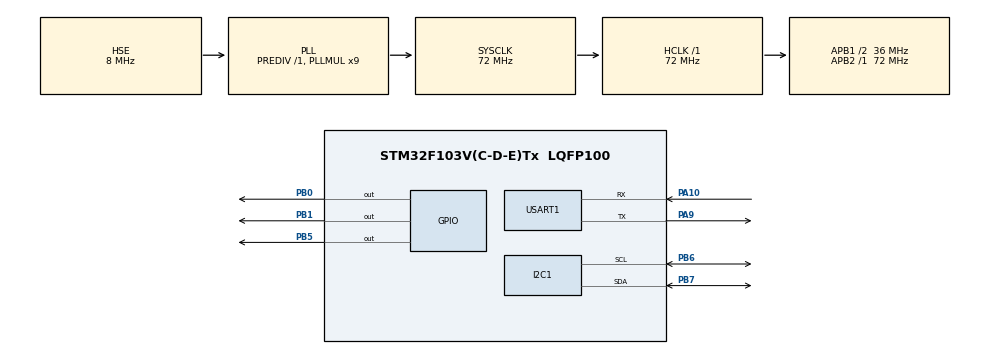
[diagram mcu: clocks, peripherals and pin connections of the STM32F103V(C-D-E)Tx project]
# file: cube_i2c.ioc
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Dma.I2C1_RX.0.Direction=DMA_PERIPH_TO_MEMORY
Dma.I2C1_RX.0.Instance=DMA1_Channel7
Dma.I2C1_RX.0.MemDataAlignment=DMA_MDATAALIGN_BYTE
Dma.I2C1_RX.0.MemInc=DMA_MINC_ENABLE
Dma.I2C1_RX.0.Mode=DMA_CIRCULAR
Dma.I2C1_RX.0.PeriphDataAlignment=DMA_PDATAALIGN_BYTE
Dma.I2C1_RX.0.PeriphInc=DMA_PINC_DISABLE
Dma.I2C1_RX.0.Priority=DMA_PRIORITY_HIGH
Dma.Request0=I2C1_RX
FREERTOS.Tasks01=defaultTask,24,128,StartDefaultTask,Default,NULL,Dynamic,NULL,NULL
I2C1.I2C_Mode=I2C_Fast
Mcu.Family=STM32F1
Mcu.Name=STM32F103V(C-D-E)Tx
Mcu.Package=LQFP100
Mcu.UserConstants=i2c_val,0;uart_cal,0
NVIC.DMA1_Channel7_IRQn=true\:5\:0\:false\:false\:true\:true\:false\:true\:true
NVIC.PriorityGroup=NVIC_PRIORITYGROUP_4
NVIC.USART1_IRQn=true\:5\:0\:false\:false\:true\:true\:true\:true\:true
OSC_IN.Mode=HSE-External-Oscillator
OSC_IN.Signal=RCC_OSC_IN
OSC_OUT.Mode=HSE-External-Oscillator
OSC_OUT.Signal=RCC_OSC_OUT
PA10.Mode=Asynchronous
PA10.Signal=USART1_RX
PA9.Mode=Asynchronous
PA9.Signal=USART1_TX
PB0.GPIO_Speed=GPIO_SPEED_FREQ_HIGH
PB0.PinState=GPIO_PIN_SET
PB0.Signal=GPIO_Output
PB1.GPIO_Speed=GPIO_SPEED_FREQ_HIGH
PB1.PinState=GPIO_PIN_SET
PB1.Signal=GPIO_Output
PB5.GPIO_Speed=GPIO_SPEED_FREQ_HIGH
PB5.PinState=GPIO_PIN_SET
PB5.Signal=GPIO_Output
PB6.Mode=I2C
PB6.Signal=I2C1_SCL
PB7.Mode=I2C
PB7.Signal=I2C1_SDA
ProjectManager.HeapSize=0x200
ProjectManager.StackSize=0x400
ProjectManager.TargetToolchain=MDK-ARM V5.32
RCC.AHBFreq_Value=72000000
RCC.APB1CLKDivider=RCC_HCLK_DIV2
RCC.APB1Freq_Value=36000000
RCC.APB1TimFreq_Value=72000000
RCC.APB2Freq_Value=72000000
RCC.APB2TimFreq_Value=72000000
RCC.HCLKFreq_Value=72000000
RCC.PLLMUL=RCC_PLL_MUL9
RCC.PLLSourceVirtual=RCC_PLLSOURCE_HSE
RCC.SYSCLKFreq_VALUE=72000000
RCC.SYSCLKSource=RCC_SYSCLKSOURCE_PLLCLK
RCC.USBFreq_Value=72000000
USART1.VirtualMode=VM_ASYNC
VP_FREERTOS_VS_CMSIS_V2.Mode=CMSIS_V2
VP_SYS_VS_ND.Mode=No_Debug
board=custom

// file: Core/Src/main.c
/* USER CODE BEGIN Header */
/**
 ******************************************************************************
 * @file           : main.c
 * @brief          : Main program body
 ******************************************************************************
 * @attention
 *
 * Copyright (c) 2023 STMicroelectronics.
 * All rights reserved.
 *
 * This software is licensed under terms that can be found in the LICENSE file
 * in the root directory of this software component.
 * If no LICENSE file comes with this software, it is provided AS-IS.
 *
 ******************************************************************************
 */
/* USER CODE END Header */
#include "main.h"
#include "cmsis_os.h"
#include "dma.h"
#include "i2c.h"
#include "usart.h"
#include "gpio.h"
#include <stm32f103xe.h>
#include <stm32f1xx_hal_uart.h>

void SystemClock_Config(void);
void MX_FREERTOS_Init(void);

int main(void)
{

  /* MCU Configuration--------------------------------------------------------*/

  /* Reset of all peripherals, Initializes the Flash interface and the Systick. */
  HAL_Init();

  /* Configure the system clock */
  SystemClock_Config();

  /* Initialize all configured peripherals */
  MX_GPIO_Init();
  MX_DMA_Init();
  MX_I2C1_Init();
  MX_USART1_UART_Init();
  /* USER CODE BEGIN 2 */
  uint8_t I2c_Buf_Read[256];
  // uint16_t i;
  // uint8_t I2c_Buf_Write[256];
  // for (i = 0; i <= 255; i++)
  // {
  //   I2c_Buf_Write[i] = i;
  // }
  uint8_t addr = 0x00;
  uint8_t data = 0x90;
  I2C_EE_ByteWrite(&data, addr);
  I2C_EE_BufferRead(I2c_Buf_Read, addr, 256);
  if (I2c_Buf_Read[0] == data)
  {
    // HAL_UART_Transmit(&huart1, (uint8_t *)"success\r\n", 9, 1000);
    HAL_UART_Transmit(&huart1, (uint8_t *)"success\r\n", sizeof("success") + 1, 1000);
  }
  extern UART_HandleTypeDef huart1;
  HAL_GPIO_WritePin(GPIOB, GPIO_PIN_5, GPIO_PIN_SET);
  /* USER CODE END 2 */

  /* Init scheduler */
  osKernelInitialize();  /* Call init function for freertos objects (in freertos.c) */
  MX_FREERTOS_Init();

  /* Start scheduler */
  osKernelStart();

  /* We should never get here as control is now taken by the scheduler */
  /* Infinite loop */
  /* USER CODE BEGIN WHILE */
  while (1)
  {
    HAL_UART_Transmit(&huart1, (uint8_t *)"hello\r\n", 8, 1000);
    HAL_Delay(1000);
    /* USER CODE END WHILE */

  }
}

void SystemClock_Config(void)
{
  RCC_OscInitTypeDef RCC_OscInitStruct = {0};
  RCC_ClkInitTypeDef RCC_ClkInitStruct = {0};

  /** Initializes the RCC Oscillators according to the specified parameters
  * in the RCC_OscInitTypeDef structure.
  */
  RCC_OscInitStruct.OscillatorType = RCC_OSCILLATORTYPE_HSE;
  RCC_OscInitStruct.HSEState = RCC_HSE_ON;
  RCC_OscInitStruct.HSEPredivValue = RCC_HSE_PREDIV_DIV1;
  RCC_OscInitStruct.HSIState = RCC_HSI_ON;
  RCC_OscInitStruct.PLL.PLLState = RCC_PLL_ON;
  RCC_OscInitStruct.PLL.PLLSource = RCC_PLLSOURCE_HSE;
  RCC_OscInitStruct.PLL.PLLMUL = RCC_PLL_MUL9;
  if (HAL_RCC_OscConfig(&RCC_OscInitStruct) != HAL_OK)
  {
    Error_Handler();
  }

  /** Initializes the CPU, AHB and APB buses clocks
  */
  RCC_ClkInitStruct.ClockType = RCC_CLOCKTYPE_HCLK|RCC_CLOCKTYPE_SYSCLK
                              |RCC_CLOCKTYPE_PCLK1|RCC_CLOCKTYPE_PCLK2;
  RCC_ClkInitStruct.SYSCLKSource = RCC_SYSCLKSOURCE_PLLCLK;
  RCC_ClkInitStruct.AHBCLKDivider = RCC_SYSCLK_DIV1;
  RCC_ClkInitStruct.APB1CLKDivider = RCC_HCLK_DIV2;
  RCC_ClkInitStruct.APB2CLKDivider = RCC_HCLK_DIV1;

  if (HAL_RCC_ClockConfig(&RCC_ClkInitStruct, FLASH_LATENCY_2) != HAL_OK)
  {
    Error_Handler();
  }
}

void Error_Handler(void)
{
  __disable_irq();
  while (1)
  {
  }
}

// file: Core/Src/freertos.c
/* USER CODE BEGIN Header */
/**
 ******************************************************************************
 * File Name          : freertos.c
 * Description        : Code for freertos applications
 ******************************************************************************
 * @attention
 *
 * Copyright (c) 2023 STMicroelectronics.
 * All rights reserved.
 *
 * This software is licensed under terms that can be found in the LICENSE file
 * in the root directory of this software component.
 * If no LICENSE file comes with this software, it is provided AS-IS.
 *
 ******************************************************************************
 */
/* USER CODE END Header */

#include "FreeRTOS.h"
#include "task.h"
#include "main.h"
#include "cmsis_os.h"

/* Definitions for defaultTask */
osThreadId_t defaultTaskHandle;
const osThreadAttr_t defaultTask_attributes = {
    .name = "defaultTask",
    .stack_size = 128 * 4,
    .priority = (osPriority_t)osPriorityNormal,
};

void StartDefaultTask(void *argument);
void myTask(void *argument);

void MX_FREERTOS_Init(void); /* (MISRA C 2004 rule 8.1) */

void MX_FREERTOS_Init(void)
{
  /* USER CODE BEGIN Init */
  TaskHandle_t xMyTaskHandle;
  BaseType_t ret;
  extern UART_HandleTypeDef huart1;
  /* USER CODE END Init */

  /* Create the thread(s) */
  /* creation of defaultTask */
  defaultTaskHandle = osThreadNew(StartDefaultTask, NULL, &defaultTask_attributes);

  /* USER CODE BEGIN RTOS_THREADS */
  /* add threads, ... */
  // osThreadNew(myTask, NULL, &defaultTask_attributes);
  ret = xTaskCreate(myTask, "myTask", 128, NULL, osPriorityNormal, &xMyTaskHandle);
  if (ret == pdPASS)
  {
    HAL_UART_Transmit(&huart1, (uint8_t *)"pdPASS\r\n", sizeof("pdPASS") + 1, 1000);
  }
  // xTaskCreate(StartDefaultTask, "StartDefaultTask", 256U, NULL, 0, NULL);
  /* USER CODE END RTOS_THREADS */

}

void StartDefaultTask(void *argument)
{
  /* USER CODE BEGIN StartDefaultTask */
  extern UART_HandleTypeDef huart1;
  /* Infinite loop */
  for (;;)
  {
    HAL_GPIO_WritePin(GPIOB, GPIO_PIN_5, GPIO_PIN_RESET);
    HAL_UART_Transmit(&huart1, (uint8_t *)"123\r\n", sizeof("123") + 1, 1000);
    osDelay(3000);
    HAL_UART_Transmit(&huart1, (uint8_t *)"456\r\n", sizeof("456") + 1, 1000);
    HAL_GPIO_WritePin(GPIOB, GPIO_PIN_5, GPIO_PIN_SET);
    vTaskDelay(1000);
    // vTaskDelete(NULL);
  }
  /* USER CODE END StartDefaultTask */
}

/* USER CODE BEGIN Application */
void myTask(void *argument)
{
  extern UART_HandleTypeDef huart1;
  while (1)
  {
    HAL_UART_Transmit(&huart1, (uint8_t *)"www\r\n", sizeof("www") + 1, 1000);
    osDelay(1000);
    vTaskDelay(1000);
    // HAL_Delay(1000);
  }
}
/* USER CODE END Application */
